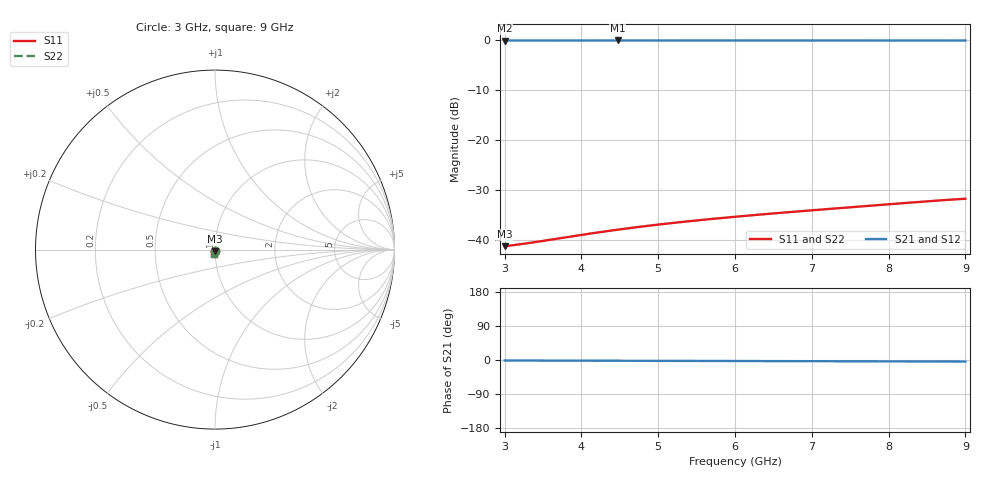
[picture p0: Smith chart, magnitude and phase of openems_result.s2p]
# Hz S RI R 50
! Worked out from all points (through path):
!   401 points, 3 GHz to 9 GHz, reference 50 ohm
!   highest |S21| = 0.00 dB at 4.47 GHz (marker M1); lowest = 0.0 dB at 3 GHz (marker M2)
!   lowest |S11| = -41.2 dB at 3 GHz (marker M3), VSWR 1.02, Z = 49.9 - j0.862 ohm
!   |S11| at or under -10 dB: start of sweep to end of sweep
!   |S22| runs from -41.2 to -31.7 dB; largest |S21 - S12| = 0
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3e9  -0.000769 -0.00864  0.9984 -0.0237  0.9984 -0.0237  -0.000769 -0.00864
3.03e9  -0.000758 -0.00869  0.9984 -0.0239  0.9984 -0.0239  -0.000758 -0.00869
3.12e9  -0.000721 -0.00886  0.9985 -0.0243  0.9985 -0.0243  -0.000721 -0.00886
3.21e9  -0.000679 -0.00905  0.9987 -0.0249  0.9987 -0.0249  -0.000679 -0.00905
3.315e9  -0.000631 -0.0093  0.9988 -0.0255  0.9988 -0.0255  -0.000631 -0.0093
3.48e9  -0.000562 -0.00972  0.9991 -0.0267  0.9991 -0.0267  -0.000562 -0.00972
4.005e9  -0.00047 -0.0113  0.9995 -0.0309  0.9995 -0.0309  -0.00047 -0.0113
4.245e9  -0.000494 -0.012  0.9996 -0.0329  0.9996 -0.0329  -0.000494 -0.012
4.47e9  -0.000545 -0.0127  0.9995 -0.0348  0.9995 -0.0348  -0.000545 -0.0127
4.74e9  -0.000634 -0.0135  0.9994 -0.037  0.9994 -0.037  -0.000634 -0.0135
5.01e9  -0.000743 -0.0143  0.9993 -0.0392  0.9993 -0.0392  -0.000743 -0.0143
5.235e9  -0.000841 -0.0149  0.9991 -0.041  0.9991 -0.041  -0.000841 -0.0149
5.475e9  -0.00095 -0.0156  0.999 -0.0429  0.999 -0.0429  -0.00095 -0.0156
5.73e9  -0.00106 -0.0163  0.9988 -0.0448  0.9988 -0.0448  -0.00106 -0.0163
6e9  -0.00118 -0.0171  0.9986 -0.0469  0.9986 -0.0469  -0.00118 -0.0171
6.45e9  -0.00136 -0.0183  0.9984 -0.0502  0.9984 -0.0502  -0.00136 -0.0183
7.005e9  -0.00154 -0.0198  0.9983 -0.0544  0.9983 -0.0544  -0.00154 -0.0198
8.01e9  -0.00189 -0.0228  0.9982 -0.0626  0.9982 -0.0626  -0.00189 -0.0228
8.4e9  -0.00216 -0.024  0.9978 -0.066  0.9978 -0.066  -0.00216 -0.024
8.655e9  -0.00243 -0.0248  0.9973 -0.0683  0.9973 -0.0683  -0.00243 -0.0248
8.865e9  -0.00272 -0.0254  0.9967 -0.07  0.9967 -0.07  -0.00272 -0.0254
9e9  -0.00295 -0.0257  0.9962 -0.071  0.9962 -0.071  -0.00295 -0.0257
